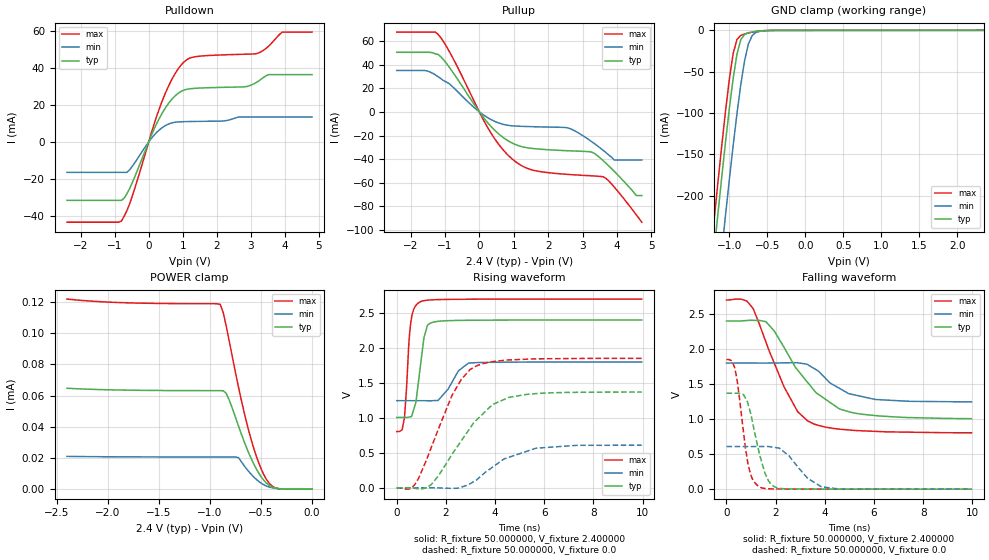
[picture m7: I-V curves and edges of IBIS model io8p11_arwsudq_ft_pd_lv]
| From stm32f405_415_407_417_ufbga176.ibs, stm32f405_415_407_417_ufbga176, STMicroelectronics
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|   Model io8p11_arwsudq_ft_pd_lv
[Model]  io8p11_arwsudq_ft_pd_lv
Model_type I/O
Polarity   Non-Inverting
Enable   Active-Low
Vinl =   0.720000V
Vinh =   1.680000V
Vmeas =  1.200000V
Cref =   30.000000pF
Rref =   100.000000M
Vref =   0.0V
C_comp   2.828100pF   2.774600pF   2.917100pF
[Temperature Range]   25.000000   0.125000k   -40.000000
[Pullup Reference]   2.400000V   1.800000V   2.700000V
[Pulldown Reference]   0.0V   0.0V   0.0V
[POWER Clamp Reference]   2.400000V   1.800000V   2.700000V
[GND Clamp Reference]   0.0V   0.0V   0.0V
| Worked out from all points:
|   slope of the pulldown table from 0 to 0.36 V, typ, clamps not added: 25 ohm
|   slope of the pullup table from 0 to 0.36 V, typ, clamps not added: 27.7 ohm
|   GND clamp passes 1 mA (typ) near -0.62 V on its own axis
|   rising waveform, R_fixture 50.000000, V_fixture 2.400000: 20-80 % time 296ps typ, 618ps min, 206ps max; typ from 1 V to 2.4 V
|   rising waveform, R_fixture 50.000000, V_fixture 0.0: 20-80 % time 1.73ns typ, 1.71ns min, 1.33ns max; typ from 0 V to 1.37 V
|   falling waveform, R_fixture 50.000000, V_fixture 2.400000: 20-80 % time 1.84ns typ, 1.34ns min, 1.4ns max; typ from 2.4 V to 1 V
|   falling waveform, R_fixture 50.000000, V_fixture 0.0: 20-80 % time 556ps typ, 948ps min, 410ps max; typ from 1.37 V to 0 V
[Pulldown]
|Voltage   I(typ)   I(min)   I(max)
-2.4V     -31.67mA   -16.51mA   -43.52mA
-800mV    -31.67mA   -16.51mA   -42.86mA
-480mV    -21.98mA   -13.17mA   -29.21mA
80mV      3.63mA     1.966mA    5.012mA
480mV     18.15mA    8.738mA    26.02mA
800mV     25.38mA    10.72mA    37.77mA
1.12V     28.53mA    11.02mA    44.6mA
2.8V      29.84mA    13.49mA    47.53mA
3.2V      32.65mA    13.49mA    48.03mA
3.52V     36.46mA    13.49mA    51.84mA
3.92V     36.46mA    13.49mA    59.54mA
4.8V      36.46mA    13.49mA    59.54mA
[Pullup]
|Voltage   I(typ)   I(min)   I(max)
-2.4V     50.45mA    35.08mA    67.58mA
-1.52V    50.45mA    34.74mA    67.58mA
-1.2V     48.68mA    29.86mA    65.71mA
320mV     -11.75mA   -6.207mA   -17.08mA
1.04V     -27.54mA   -11.97mA   -41.91mA
1.6V      -31.13mA   -12.58mA   -49.63mA
2.56V     -32.88mA   -13.49mA   -52.9mA
3.28V     -34.2mA    -25.53mA   -54.18mA
3.6V      -41.32mA   -32.62mA   -54.99mA
3.92V     -50.34mA   -40.8mA    -63.66mA
4.56V     -70.8mA    -40.8mA    -87.12mA
4.72V     -70.8mA    -40.8mA    -93.4mA
[GND_clamp]
|Voltage   I(typ)   I(min)   I(max)
-2.4V     -1.424A    -1.508A    -1.394A
-1.25V    -311.8mA   -402mA     -274.5mA
-1.2V     -266mA     -356.2mA   -228.4mA
-1.15V    -220.9mA   -310.9mA   -183.1mA
-1.1V     -176.9mA   -266.3mA   -139mA
-1.05V    -134.3mA   -222.6mA   -97.01mA
-950mV    -57.82mA   -139.1mA   -27.87mA
-900mV    -28.73mA   -100.5mA   -11.05mA
-850mV    -11.3mA    -65.69mA   -6.068mA
-750mV    -2.863mA   -16.61mA   -3.194mA
-600mV    -761.3uA   -1.176mA   -752.1uA
2.35V     58.09uA    37.92uA    67.25uA
[POWER_clamp]
|Voltage   I(typ)   I(min)   I(max)
-2.4V     64.71uA    21.03uA    121.9uA
-1.86V    63.55uA    20.74uA    119.6uA
-900mV    63.18uA    20.63uA    118.5uA
-870mV    63.14uA    20.63uA    113.2uA
-840mV    61.36uA    20.62uA    104.3uA
-720mV    40.37uA    20.18uA    65.28uA
-630mV    24.69uA    12.08uA    39.85uA
-540mV    12.26uA    5.907uA    20uA
-480mV    6.236uA    3.061uA    10.23uA
-420mV    2.4uA      1.365uA    3.726uA
-360mV    667.9nA    564nA      839.6nA
0V        0A         0A         0A
[Ramp]
| variable   typ   min   max
dV/dt_r  0.82110/1.72961n   0.36371/1.70409n   1.11047/1.33429n
dV/dt_f  0.83238/1.83814n   0.33264/1.35229n   1.13548/1.40034n
R_load = 50.000000
[Rising Waveform]
R_fixture= 50.000000
V_fixture= 2.400000
V_fixture_min= 1.800000
V_fixture_max= 2.700000
|time   V(typ)   V(min)   V(max)
0s        1.005V     1.245V     804.2mV
220.2ps   1.005V     1.245V     829.2mV
300.3ps   1.005V     1.246V     978.4mV
560.6ps   1.015V     1.246V     2.332V
780.8ps   1.224V     1.246V     2.607V
920.9ps   1.621V     1.246V     2.653V
1.121ns   2.165V     1.245V     2.676V
1.481ns   2.368V     1.246V     2.688V
2.923ns   2.395V     1.784V     2.696V
9.97ns    2.399V     1.799V     2.698V
[Rising Waveform]
R_fixture= 50.000000
V_fixture= 0.0
V_fixture_min= 0.0
V_fixture_max= 0.0
|time   V(typ)   V(min)   V(max)
0s        167.9uV    65.56uV    417.7uV
500.5ps   -1.047mV   52.39uV    -17.75mV
720.7ps   -7.685mV   56.75uV    40.2mV
1.401ns   46.2mV     155.1uV    573.3mV
2.262ns   483.8mV    -7.237mV   1.329V
2.623ns   669.8mV    9.988mV    1.547V
3.183ns   947mV      98.66mV    1.732V
3.904ns   1.191V     297.1mV    1.804V
5.666ns   1.346V     565.8mV    1.844V
9.97ns    1.369V     608.3mV    1.85V
[Falling Waveform]
R_fixture= 50.000000
V_fixture= 2.400000
V_fixture_min= 1.800000
V_fixture_max= 2.700000
|time   V(typ)   V(min)   V(max)
0s        2.399V     1.799V     2.698V
620.6ps   2.401V     1.799V     2.708V
1.081ns   2.409V     1.799V     2.579V
1.602ns   2.389V     1.799V     2.103V
2.342ns   2.024V     1.802V     1.461V
2.903ns   1.696V     1.802V     1.103V
3.303ns   1.523V     1.776V     974.3mV
3.804ns   1.337V     1.662V     904.6mV
5.045ns   1.098V     1.357V     842.6mV
9.97ns    1.005V     1.245V     804.2mV
[Falling Waveform]
R_fixture= 50.000000
V_fixture= 0.0
V_fixture_min= 0.0
V_fixture_max= 0.0
|time   V(typ)   V(min)   V(max)
0s        1.369V     608.3mV    1.85V
340.3ps   1.369V     608.4mV    1.727V
440.4ps   1.369V     608.3mV    1.541V
840.8ps   1.257V     608.2mV    436mV
1.041ns   989.6mV    608mV      156.6mV
1.361ns   475.6mV    608.3mV    28.91mV
1.722ns   112.6mV    607.3mV    6.038mV
2.162ns   12.06mV    581.2mV    2.818mV
3.884ns   1.268mV    32.17mV    1.078mV
9.97ns    167.9uV    65.56uV    417.7uV
